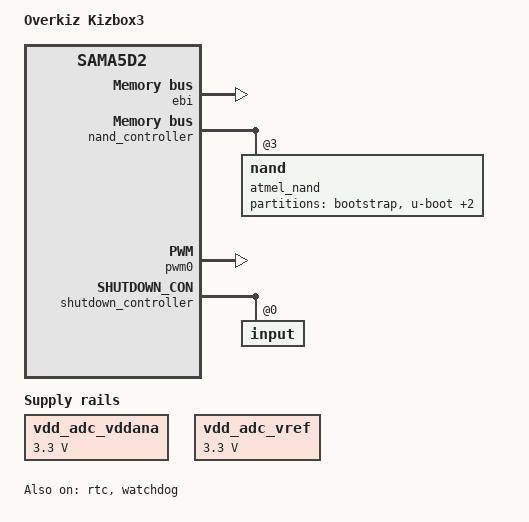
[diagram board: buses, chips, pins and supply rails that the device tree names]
// SPDX-License-Identifier: GPL-2.0
/*
 * at91-kizbox3.dts - Device Tree Include file for Overkiz Kizbox 3
 * family SoC boards
 *
 * Copyright (C) 2018 Overkiz SAS
 *
 * Authors: Dorian Rocipon <d.rocipon@overkiz.com>
 *          Kevin Carli <k.carli@overkiz.com>
 *          Mickael Gardet <m.gardet@overkiz.com>
 */
/dts-v1/;
#include "sama5d2.dtsi"
#include "sama5d2-pinfunc.h"
#include <dt-bindings/gpio/gpio.h>
#include <dt-bindings/mfd/atmel-flexcom.h>
#include <dt-bindings/pinctrl/at91.h>
#include <dt-bindings/pwm/pwm.h>

/ {
	model = "Overkiz Kizbox3";
	compatible = "overkiz,kizbox3", "atmel,sama5d2", "atmel,sama5";

	aliases {
		serial0 = &uart0;
		serial1 = &uart1;
		serial2 = &uart2;
		serial3 = &uart3;
		serial4 = &uart4;
		serial5 = &uart5;
		serial6 = &uart8;
	};

	chosen {
		bootargs = "ubi.mtd=ubi";
		stdout-path = "serial1:115200n8";
	};

	clocks {
		slow_xtal {
			clock-frequency = <32768>;
		};

		main_xtal {
			clock-frequency = <12000000>;
		};
	};

	vdd_adc_vddana: supply_3v3_ana {
		compatible = "regulator-fixed";
		regulator-name = "adc-vddana";
		regulator-min-microvolt = <3300000>;
		regulator-max-microvolt = <3300000>;
		regulator-always-on;
	};

	vdd_adc_vref: supply_3v3_ref {
		compatible = "regulator-fixed";
		regulator-name = "adc-vref";
		regulator-min-microvolt = <3300000>;
		regulator-max-microvolt = <3300000>;
		regulator-always-on;
	};

	led-controller-1 {
		compatible = "pwm-leds";
		pinctrl-names = "default";
		pinctrl-0 = <&pinctrl_pwm0_pwm_h0
			     &pinctrl_pwm0_pwm_h1
			     &pinctrl_pwm0_pwm_h2
			     &pinctrl_pwm0_pwm_h3>;
		status = "disabled";

		led-1 {
			label = "pwm:red:user";
			pwms = <&pwm0 0 10000000 0>;
			max-brightness = <255>;
			linux,default-trigger = "default-on";
			status = "disabled";
		};

		led-2 {
			label = "pwm:green:user";
			pwms = <&pwm0 1 10000000 0>;
			max-brightness = <255>;
			linux,default-trigger = "default-on";
			status = "disabled";
		};

		led-3 {
			label = "pwm:blue:user";
			pwms = <&pwm0 2 10000000 0>;
			max-brightness = <255>;
			status = "disabled";
		};

		led-4 {
			label = "pwm:white:user";
			pwms = <&pwm0 3 10000000 0>;
			max-brightness = <255>;
			status = "disabled";
		};
	};
};

&ebi {
	status = "okay";
};

&nand_controller {
	status = "okay";

	nand@3 {
		pinctrl-0 = <&pinctrl_ebi_nand_addr>;
		pinctrl-names = "default";
		reg = <0x3 0x0 0x800000>;

		atmel,rb = <0>;
		nand-bus-width = <8>;
		nand-ecc-mode = "hw";
		nand-ecc-strength = <4>;
		nand-ecc-step-size = <512>;
		nand-on-flash-bbt;
		label = "atmel_nand";

		partitions {
			compatible = "fixed-partitions";
			#address-cells = <1>;
			#size-cells = <1>;

			bootstrap@0 {
				label = "bootstrap";
				reg = <0x0 0x20000>;
			};

			u-boot@20000 {
				label = "u-boot";
				reg = <0x20000 0x140000>;
			};

			u-boot-factory@160000 {
				label = "u-boot-factory";
				reg = <0x160000 0x140000>;
			};

			ubi@2A0000 {
				label = "ubi";
				reg = <0x2A0000 0x7D60000>;
			};
		};

	};
};

&rtc {
	status = "okay";
};

&pioA {
	pinctrl_ebi_nand_addr: ebi-addr-1 {
		pinmux = <PIN_PA0__D0>,
			<PIN_PA1__D1>,
			<PIN_PA2__D2>,
			<PIN_PA3__D3>,
			<PIN_PA4__D4>,
			<PIN_PA5__D5>,
			<PIN_PA6__D6>,
			<PIN_PA7__D7>,
			<PIN_PA8__NWE_NANDWE>,
			<PIN_PA9__NCS3>,
			<PIN_PA10__A21_NANDALE>,
			<PIN_PA11__A22_NANDCLE>,
			<PIN_PA21__NANDRDY>;
		bias-disable;
	};

	pinctrl_usart {
		pinctrl_usart_0: usart0-0 {
			pinmux = < PIN_PB26__URXD0>, <PIN_PB27__UTXD0>;
			bias-disable;
		};
		pinctrl_usart_1: usart1-0 {
			pinmux = < PIN_PD2__URXD1>, <PIN_PD3__UTXD1>;
			bias-disable;
		};
		pinctrl_usart_2: usart2-0 {
			pinmux = < PIN_PD4__URXD2>, <PIN_PD5__UTXD2>;
			bias-disable;
		};
		pinctrl_usart_3: usart3-0 {
			pinmux = < PIN_PC12__URXD3>, <PIN_PC13__UTXD3>;
			bias-disable;
		};
		pinctrl_usart_4: usart4-0 {
			pinmux = < PIN_PB3__URXD4>, <PIN_PB4__UTXD4>;
			bias-disable;
		};
		pinctrl_flx0_default: flx0_usart_default {
			pinmux = <PIN_PB28__FLEXCOM0_IO0>, //TX
			<PIN_PB29__FLEXCOM0_IO1>; //RX
			bias-disable;
		};
		pinctrl_flx3_default: flx3_usart_default {
			pinmux = <PIN_PB22__FLEXCOM3_IO1>, //RX
			<PIN_PB23__FLEXCOM3_IO0>; //TX
			bias-disable;
		};
	};

	pinctrl_flx4_default: flx4_i2c6_default {
		pinmux = <PIN_PD12__FLEXCOM4_IO0>, //DATA
		<PIN_PD13__FLEXCOM4_IO1>; //CLK
		bias-disable;
		drive-open-drain = <1>;
	};

	pinctrl_pwm0 {
		pinctrl_pwm0_pwm_h0: pwm0_pwm_h0 {
			pinmux = <PIN_PA30__PWMH0>;
			bias-disable;
		};
		pinctrl_pwm0_pwm_h1: pwm0_pwmh1 {
			pinmux = <PIN_PB0__PWMH1>;
			bias-disable;
		};
		pinctrl_pwm0_pwm_h2: pwm0_pwm_h2 {
			pinmux = <PIN_PB5__PWMH2>;
			bias-disable;
		};
		pinctrl_pwm0_pwm_h3: pwm0_pwm_h3 {
			pinmux = <PIN_PB7__PWMH3>;
			bias-disable;
		};
	};

	pinctrl_adc {
		pinctrl_adc2: adc2 {
			pinmux = <PIN_PD21__GPIO>;
			bias-disable;
		};
		pinctrl_adc3: adc3 {
			pinmux = <PIN_PD22__GPIO>;
			bias-disable;
		};
		pinctrl_adc4: adc4 {
			pinmux = <PIN_PD23__GPIO>;
			bias-disable;
		};
		pinctrl_adc5: adc5 {
			pinmux = <PIN_PD24__GPIO>;
			bias-disable;
		};
	};
};

&uart0 {
	pinctrl-names = "default";
	pinctrl-0 = <&pinctrl_usart_0>;
	atmel,use-dma-rx;
	atmel,use-dma-tx;
	status = "disabled";
};

/* debug uart */
&uart1 {
	pinctrl-names = "default";
	pinctrl-0 = <&pinctrl_usart_1>;
	atmel,use-dma-rx;
	atmel,use-dma-tx;
	status = "disabled";
};

&uart2 {
	pinctrl-names = "default";
	pinctrl-0 = <&pinctrl_usart_2>;
	atmel,use-dma-rx;
	atmel,use-dma-tx;
	status = "disabled";
};

&uart3 {
	pinctrl-names = "default";
	pinctrl-0 = <&pinctrl_usart_3>;
	atmel,use-dma-rx;
	atmel,use-dma-tx;
	status = "disabled";
};

&uart4 {
	pinctrl-names = "default";
	pinctrl-0 = <&pinctrl_usart_4>;
	atmel,use-dma-rx;
	atmel,use-dma-tx;
	status = "disabled";
};

&flx0 {
	atmel,flexcom-mode = <ATMEL_FLEXCOM_MODE_USART>;
	status = "disabled";

	uart5: serial@200  {
		pinctrl-names = "default";
		pinctrl-0 = <&pinctrl_flx0_default>;
		atmel,use-dma-rx;
		atmel,use-dma-tx;
		status = "disabled";
	};
};

&flx3 {
	atmel,flexcom-mode = <ATMEL_FLEXCOM_MODE_USART>;
	status = "disabled";

	uart8: serial@200 {
		pinctrl-names = "default";
		pinctrl-0 = <&pinctrl_flx3_default>;
		atmel,use-dma-rx;
		atmel,use-dma-tx;
		status = "disabled";
	};
};

&flx4 {
	atmel,flexcom-mode = <ATMEL_FLEXCOM_MODE_TWI>;
	status = "disabled";

	i2c6: i2c@600 {
		pinctrl-names = "default";
		pinctrl-0 = <&pinctrl_flx4_default>;
		status = "disabled";
	};
};

&pwm0 {
	status = "okay";
};

&shutdown_controller {
	debounce-delay-us = <976>;
	atmel,wakeup-rtc-timer;

	input@0 {
		reg = <0>;
	};
};

&watchdog {
	status = "okay";
};

&adc {
	pinctrl-names = "default";
	pinctrl-0 = <&pinctrl_adc2
		     &pinctrl_adc3
		     &pinctrl_adc4
		     &pinctrl_adc5>;

	vddana-supply = <&vdd_adc_vddana>;
	vref-supply = <&vdd_adc_vref>;
	status = "disabled";
};

&securam {
	export;

	/* export overkiz u-boot mode/version and factory */
	uboot@1400 {
		reg = <0x1400 0x20>;
		export;
	};
};
